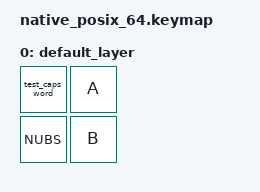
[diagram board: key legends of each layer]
#include <behaviors.dtsi>
#include <dt-bindings/zmk/keys.h>
#include <dt-bindings/zmk/kscan_mock.h>
#include "../behavior_keymap.dtsi"

/ {
    keymap {
        compatible = "zmk,keymap";

        default_layer {
            bindings = <
                &test_caps_word &kp A
                &kp NUBS        &kp B
            >;
        };
    };
};

&kscan {
    events = <
        ZMK_MOCK_PRESS(0,0,10)
        ZMK_MOCK_RELEASE(0,0,10)
        ZMK_MOCK_PRESS(0,1,10)
        ZMK_MOCK_RELEASE(0,1,10)
        ZMK_MOCK_PRESS(1,0,10)
        ZMK_MOCK_RELEASE(1,0,10)
        ZMK_MOCK_PRESS(1,1,10)
        ZMK_MOCK_RELEASE(1,1,10)
    >;
};
